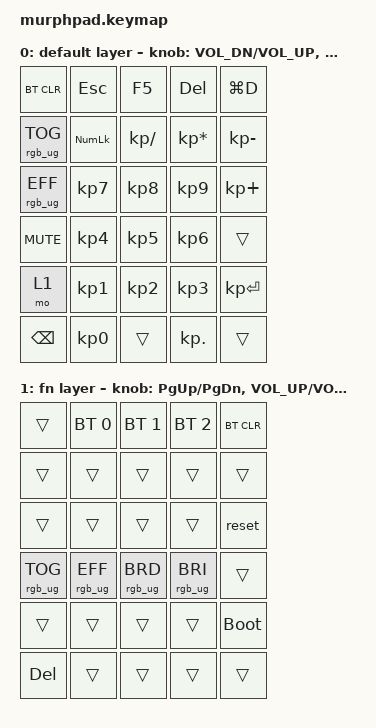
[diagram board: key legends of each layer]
/*
 * Copyright (c) 2021 The ZMK Contributors
 *
 * SPDX-License-Identifier: MIT
 */

#include <behaviors.dtsi>
#include <dt-bindings/zmk/keys.h>
#include <dt-bindings/zmk/bt.h>
#include <dt-bindings/zmk/rgb.h>


#define TIMEOUT 300

&encoder_1 {
    status = "okay";
};

&encoder_2 {
    status = "okay";
};

/ {
    combos {
        compatible = "zmk,combos";
        /*combo_btclr {
            timeout-ms = <TIMEOUT>;
            key-positions = <1 6>;
            bindings = <&bt BT_CLR>;
        };*/
        combo_reset {
            timeout-ms = <TIMEOUT>;
            key-positions = <1 14>;
            bindings = <&reset>;
        };
        combo_bootloader {
            timeout-ms = <TIMEOUT>;
            key-positions = <1 24>;
            bindings = <&bootloader>;
        };
        /*combo_bt_nxt {
            timeout-ms = <TIMEOUT>;
            key-positions = <1 4>;
            bindings = <&bt BT_NXT>;
        };*/
    };
    
    sensors {
        compatible = "zmk,keymap-sensors";
        sensors = <&encoder_1 &encoder_2>;
    };


    keymap0: keymap {
        compatible = "zmk,keymap";

        default_layer {
            label = "default layer";
            bindings = <
                &bt BT_CLR       &kp ESC      &kp F5          &kp DEL     &kp LG(D)   
                &rgb_ug RGB_TOG  &kp KP_NUM      &kp KP_DIVIDE   &kp KP_MULTIPLY   &kp KP_MINUS    
                &rgb_ug RGB_EFF  &kp KP_N7    &kp KP_N8       &kp KP_N9         &kp KP_PLUS   
                &kp C_MUTE       &kp KP_N4    &kp KP_N5       &kp KP_N6         &trans
                &mo 1            &kp KP_N1    &kp KP_N2       &kp KP_N3         &kp KP_ENTER
                &kp BSPC         &kp KP_N0    &trans          &kp KP_DOT        &trans
            >;
            sensor-bindings = <&inc_dec_kp C_VOL_DN C_VOL_UP &inc_dec_kp PG_UP PG_DN>;

        }; 
        
        fn_layer {
            label = "fn layer";
            bindings = <
                &trans      &bt BT_SEL 0     &bt BT_SEL 1        &bt BT_SEL 2          &bt BT_CLR  
                &trans      &trans &trans        &trans          &trans     
                &trans      &trans     &trans        &trans             &reset
                &rgb_ug RGB_TOG  &rgb_ug RGB_EFF     &rgb_ug RGB_BRD        &rgb_ug RGB_BRI          &trans    
                &trans      &trans     &trans        &trans          &bootloader
                &kp DEL        &trans     &trans        &trans          &trans           
            >;  
            sensor-bindings = <&inc_dec_kp PG_UP PG_DN &inc_dec_kp C_VOL_UP C_VOL_DN>;
                
        };
    };
};
